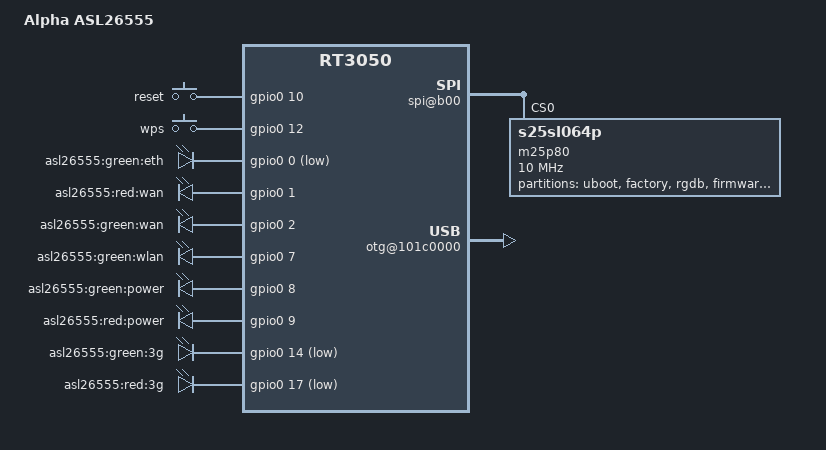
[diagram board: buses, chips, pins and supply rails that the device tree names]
/dts-v1/;

/include/ "rt3050.dtsi"

/ {
	compatible = "ASL26555", "ralink,rt3050-soc";
	model = "Alpha ASL26555";

	palmbus@10000000 {
		gpio0: gpio@600 {
			status = "okay";
		};

		spi@b00 {
			status = "okay";
			m25p80@0 {
				#address-cells = <1>;
				#size-cells = <1>;
				compatible = "s25sl064p";
				reg = <0 0>;
				linux,modalias = "m25p80", "s25sl064p";
				spi-max-frequency = <10000000>;

				partition@0 {
					label = "uboot";
					reg = <0x0 0x30000>;
					read-only;
				};
				factory: partition@30000 {
					label = "factory";
					reg = <0x30000 0x10000>;
					read-only;
				};
				partition@40000 {
					label = "rgdb";
					reg = <0x40000 0x10000>;
					read-only;
				};
				partition@50000 {
					label = "firmware";
					reg = <0x50000 0x790000>;
				};
				partition@7e0000 {
					label = "cert";
					reg = <0x7e0000 0x10000>;
					read-only;
				};
				partition@7f0000 {
					label = "langpack";
					reg = <0x7f0000 0x10000>;
					read-only;
				};
			};
		};
	};

	pinctrl {
		state_default: pinctrl0 {
			gpio {
				ralink,group = "i2c", "jtag", "rgmii", "mdio", "uartf";
				ralink,function = "gpio";
			};
		};
	};

	ethernet@10100000 {
		mtd-mac-address = <&factory 0x4004>;
	};

	esw@10110000 {
		ralink,portmap = <0x1e>;
	};

	/* devdata partition seems to be missing */
/*	wmac@10180000 {
		ralink,mtd-eeprom = <&devdata 0x4000>;
	};
*/
	otg@101c0000 {
		status = "okay";
	};

	gpio-keys-polled {
		compatible = "gpio-keys-polled";
		#address-cells = <1>;
		#size-cells = <0>;
		poll-interval = <20>;
		reset {
			label = "reset";
			gpios = <&gpio0 10 0>;
			linux,code = <0x198>;
		};
		wps {
			label = "wps";
			gpios = <&gpio0 12 0>;
			linux,code = <0x211>;
		};
	};

	gpio-leds {
		compatible = "gpio-leds";
		eth {
			label = "asl26555:green:eth";
			gpios = <&gpio0 0 1>;
		};
		wan-red {
			label = "asl26555:red:wan";
			gpios = <&gpio0 1 0>;
		};
		wan-green {
			label = "asl26555:green:wan";
			gpios = <&gpio0 2 0>;
		};
		wlan {
			label = "asl26555:green:wlan";
			gpios = <&gpio0 7 0>;
		};
		power-green {
			label = "asl26555:green:power";
			gpios = <&gpio0 8 0>;
		};
		power-red {
			label = "asl26555:red:power";
			gpios = <&gpio0 9 0>;
		};
		3g-green {
			label = "asl26555:green:3g";
			gpios = <&gpio0 14 1>;
		};
		3g-red {
			label = "asl26555:red:3g";
			gpios = <&gpio0 17 1>;
		};
	};
};
